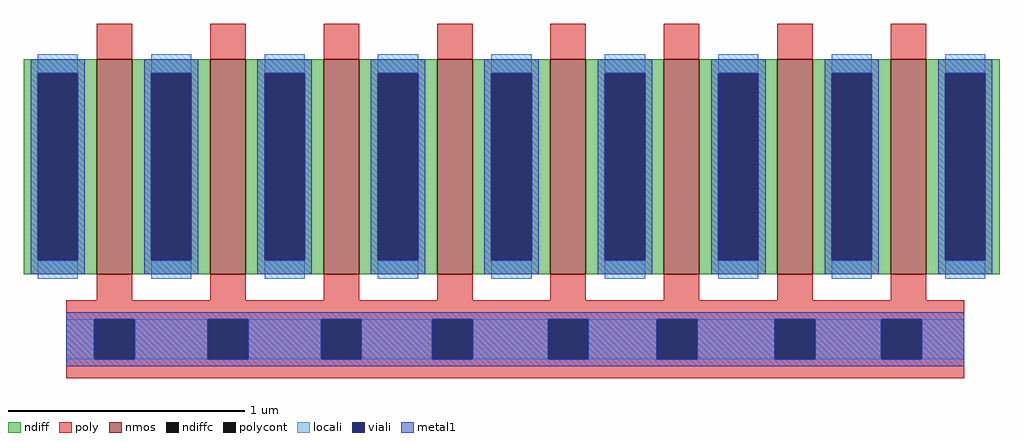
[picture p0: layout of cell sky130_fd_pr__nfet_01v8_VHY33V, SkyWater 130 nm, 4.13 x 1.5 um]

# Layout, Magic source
magic
tech sky130A
magscale 1 2
<< nmos >>
rect -351 -91 -321 91
rect -255 -91 -225 91
rect -159 -91 -129 91
rect -63 -91 -33 91
rect 33 -91 63 91
rect 129 -91 159 91
rect 225 -91 255 91
rect 321 -91 351 91
<< ndiff >>
rect -413 79 -351 91
rect -413 -79 -401 79
rect -367 -79 -351 79
rect -413 -91 -351 -79
rect -321 79 -255 91
rect -321 -79 -305 79
rect -271 -79 -255 79
rect -321 -91 -255 -79
rect -225 79 -159 91
rect -225 -79 -209 79
rect -175 -79 -159 79
rect -225 -91 -159 -79
rect -129 79 -63 91
rect -129 -79 -113 79
rect -79 -79 -63 79
rect -129 -91 -63 -79
rect -33 79 33 91
rect -33 -79 -17 79
rect 17 -79 33 79
rect -33 -91 33 -79
rect 63 79 129 91
rect 63 -79 79 79
rect 113 -79 129 79
rect 63 -91 129 -79
rect 159 79 225 91
rect 159 -79 175 79
rect 209 -79 225 79
rect 159 -91 225 -79
rect 255 79 321 91
rect 255 -79 271 79
rect 305 -79 321 79
rect 255 -91 321 -79
rect 351 79 413 91
rect 351 -79 367 79
rect 401 -79 413 79
rect 351 -91 413 -79
<< ndiffc >>
rect -401 -79 -367 79
rect -305 -79 -271 79
rect -209 -79 -175 79
rect -113 -79 -79 79
rect -17 -79 17 79
rect 79 -79 113 79
rect 175 -79 209 79
rect 271 -79 305 79
rect 367 -79 401 79
<< poly >>
rect -351 91 -321 121
rect -255 91 -225 121
rect -159 91 -129 121
rect -63 91 -33 121
rect 33 91 63 121
rect 129 91 159 121
rect 225 91 255 121
rect 321 91 351 121
rect -351 -113 -321 -91
rect -255 -113 -225 -91
rect -159 -113 -129 -91
rect -63 -113 -33 -91
rect 33 -113 63 -91
rect 129 -113 159 -91
rect 225 -113 255 -91
rect 321 -113 351 -91
rect -377 -129 383 -113
rect -377 -163 -353 -129
rect -319 -163 -257 -129
rect -223 -163 -161 -129
rect -127 -163 -67 -129
rect -33 -163 31 -129
rect 65 -163 123 -129
rect 157 -163 223 -129
rect 257 -163 313 -129
rect 347 -163 383 -129
rect -377 -179 383 -163
<< polycont >>
rect -353 -163 -319 -129
rect -257 -163 -223 -129
rect -161 -163 -127 -129
rect -67 -163 -33 -129
rect 31 -163 65 -129
rect 123 -163 157 -129
rect 223 -163 257 -129
rect 313 -163 347 -129
<< locali >>
rect -401 79 -367 95
rect -401 -95 -367 -79
rect -305 79 -271 95
rect -305 -95 -271 -79
rect -209 79 -175 95
rect -209 -95 -175 -79
rect -113 79 -79 95
rect -113 -95 -79 -79
rect -17 79 17 95
rect -17 -95 17 -79
rect 79 79 113 95
rect 79 -95 113 -79
rect 175 79 209 95
rect 175 -95 209 -79
rect 271 79 305 95
rect 271 -95 305 -79
rect 367 79 401 95
rect 367 -95 401 -79
rect -377 -163 -353 -129
rect -319 -163 -257 -129
rect -223 -163 -161 -129
rect -127 -163 -67 -129
rect -33 -163 31 -129
rect 65 -163 123 -129
rect 157 -163 223 -129
rect 257 -163 313 -129
rect 347 -163 383 -129
<< viali >>
rect -401 -79 -367 79
rect -305 -79 -271 79
rect -209 -79 -175 79
rect -113 -79 -79 79
rect -17 -79 17 79
rect 79 -79 113 79
rect 175 -79 209 79
rect 271 -79 305 79
rect 367 -79 401 79
rect -353 -163 -319 -129
rect -257 -163 -223 -129
rect -161 -163 -127 -129
rect -67 -163 -33 -129
rect 31 -163 65 -129
rect 123 -163 157 -129
rect 223 -163 257 -129
rect 313 -163 347 -129
<< metal1 >>
rect -407 79 -361 91
rect -407 -79 -401 79
rect -367 -79 -361 79
rect -407 -91 -361 -79
rect -311 79 -265 91
rect -311 -79 -305 79
rect -271 -79 -265 79
rect -311 -91 -265 -79
rect -215 79 -169 91
rect -215 -79 -209 79
rect -175 -79 -169 79
rect -215 -91 -169 -79
rect -119 79 -73 91
rect -119 -79 -113 79
rect -79 -79 -73 79
rect -119 -91 -73 -79
rect -23 79 23 91
rect -23 -79 -17 79
rect 17 -79 23 79
rect -23 -91 23 -79
rect 73 79 119 91
rect 73 -79 79 79
rect 113 -79 119 79
rect 73 -91 119 -79
rect 169 79 215 91
rect 169 -79 175 79
rect 209 -79 215 79
rect 169 -91 215 -79
rect 265 79 311 91
rect 265 -79 271 79
rect 305 -79 311 79
rect 265 -91 311 -79
rect 361 79 407 91
rect 361 -79 367 79
rect 401 -79 407 79
rect 361 -91 407 -79
rect -377 -129 383 -123
rect -377 -163 -353 -129
rect -319 -163 -257 -129
rect -223 -163 -161 -129
rect -127 -163 -67 -129
rect -33 -163 31 -129
rect 65 -163 123 -129
rect 157 -163 223 -129
rect 257 -163 313 -129
rect 347 -163 383 -129
rect -377 -169 383 -163
<< properties >>
string gencell sky130_fd_pr__nfet_01v8
string library sky130
string parameters w 0.91 l 0.15 m 1 nf 8 diffcov 100 polycov 100 guard 0 glc 1 grc 1 gtc 1 gbc 1 tbcov 100 rlcov 100 topc 1 botc 1 poverlap 0 doverlap 1 lmin 0.15 wmin 0.42 compatible {sky130_fd_pr__nfet_01v8 sky130_fd_pr__nfet_01v8_lvt  sky130_fd_bs_flash__special_sonosfet_star  sky130_fd_pr__nfet_g5v0d10v5 sky130_fd_pr__nfet_05v0_nvt  sky130_fd_pr__nfet_03v3_nvt} full_metal 0 viasrc 100 viadrn 100 viagate 100 viagb 0 viagr 0 viagl 0 viagt 0
<< end >>
